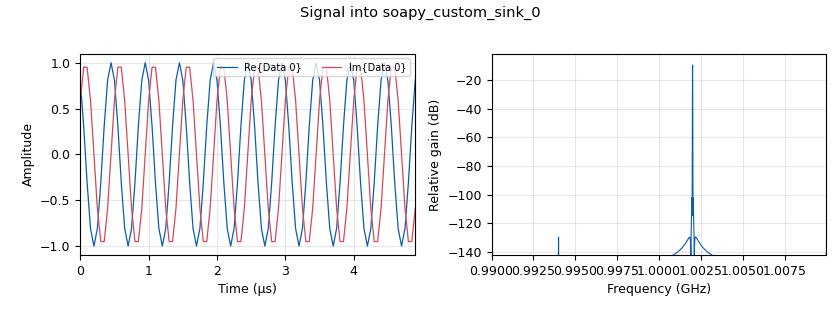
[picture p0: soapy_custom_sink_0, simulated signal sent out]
options:
  parameters:
    generate_options: qt_gui
    id: sink_test
    output_language: python
    title: Sink Test
  states: {}

blocks:
- name: attenuation
  id: variable_qtgui_range
  parameters:
    gui_hint: '[8, 0, 2, 1]'
    min_len: '100'
    start: '0'
    step: '10'
    stop: '359'
    value: '150'
  states: {}
- name: bandwidth
  id: variable_qtgui_range
  parameters:
    gui_hint: '[2,0, 2, 1]'
    start: '1000'
    step: 1e6
    stop: 250e6
    value: sample_rate * 0.8
  states: {}
- name: frequency
  id: variable_qtgui_range
  parameters:
    gui_hint: '[4, 0, 2, 1]'
    label: Frequency
    min_len: '100'
    start: 500e6
    step: 1e6
    stop: 6000e6
    value: 1000e6
  states: {}
- name: min_buffer
  id: variable
  parameters:
    value: '16380'
  states: {}
- name: run_tx_calibration
  id: variable_qtgui_push_button
  parameters:
    gui_hint: '[12, 0, 1, 1]'
    pressed: '1'
    released: '0'
    type: int
    value: '0'
  states: {}
- name: sample_rate
  id: variable_qtgui_range
  parameters:
    gui_hint: '[0,0,2,1]'
    start: 1e6
    step: 1e6
    stop: 250e6
    value: 20e6
  states: {}
- name: tone_freq
  id: variable_qtgui_range
  parameters:
    gui_hint: '[10, 0, 2, 1]'
    start: 1e6
    step: 1e6
    stop: 25e6
    value: 2e6
  states: {}
- name: analog_sig_source_x_0
  id: analog_sig_source_x
  parameters:
    amp: '1'
    freq: tone_freq
    offset: '0'
    phase: '0'
    samp_rate: sample_rate
    type: complex
    waveform: analog.GR_COS_WAVE
  states: {}
- name: soapy_custom_sink_0
  id: soapy_custom_sink
  parameters:
    center_freq0: frequency
    dev_args: card=2
    driver: sidekiq
    gain0: '60'
    samp_rate: sample_rate
    type: fc32
  states: {}

connections:
- [analog_sig_source_x_0, '0', soapy_custom_sink_0, '0']

metadata:
  file_format: 1
  grc_version: v3.11.0.0git-605-g9b22fd38
